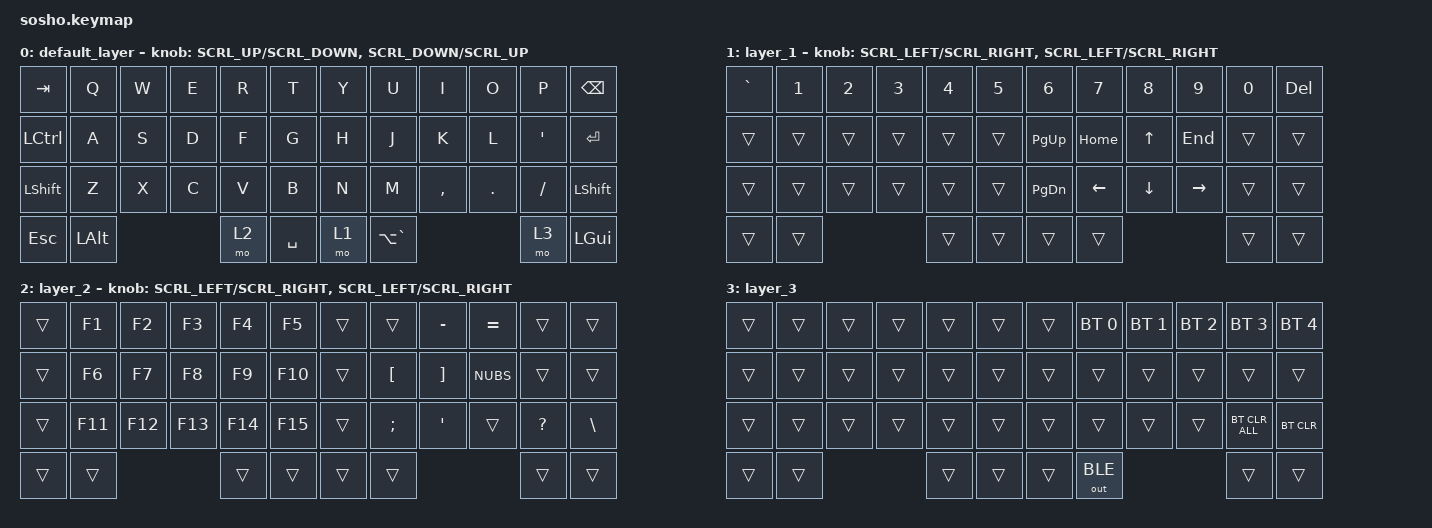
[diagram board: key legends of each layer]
//スクロール量の調整(デフォルト150)
#define ZMK_POINTING_DEFAULT_SCRL_VAL 150

#include <behaviors.dtsi>
#include <dt-bindings/zmk/bt.h>
#include <dt-bindings/zmk/keys.h>
#include <dt-bindings/zmk/pointing.h>
#include <dt-bindings/zmk/outputs.h>

/ {
	behaviors {
        ec_ms_l: ec_ms_h {
            compatible = "zmk,behavior-encoder-mouse-scroll";
            #sensor-binding-cells = <2>;
        };
        ec_ms_r: ec_ms_v {
            compatible = "zmk,behavior-encoder-mouse-scroll";
            #sensor-binding-cells = <2>;
        };
    };
};

//スクロールの調整
&msc {
    time-to-max-speed-ms = <0>;   // 即座に最大速度（加速なし）
    acceleration-exponent = <0>;   // 加速なし
};

/{
    combos {
        compatible = "zmk,combos";
		//左クリックのコンボ 19はJのキー 20はKのキーに相当します。
	    combo_LCLK {
            timeout-ms = <50>;
            key-positions = <19 20>;
            bindings = <&mkp LCLK>;
        };

		//右クリックのコンボ 20 K 21 L
        combo_RCLK {
            timeout-ms = <50>;
            key-positions = <20 21>;
            bindings = <&mkp RCLK>;
        };

		//ホイールクリックのコンボ 19 J 21 L
	    combo_MCLK {
            timeout-ms = <90>;
            key-positions = <19 21>;
            bindings = <&mkp MCLK>;
        };

		//K(20)+M(31) → Ctrl+Shift+Tab（タブ前移動）
        combo_prev_tab {
            timeout-ms = <50>;
            key-positions = <20 31>;
            bindings = <&kp LC(LS(TAB))>;
        };

		//K(20)+.(33) → Ctrl+Tab（タブ次移動）
        combo_next_tab {
            timeout-ms = <50>;
            key-positions = <20 33>;
            bindings = <&kp LC(TAB)>;
        };

		//M(31)+,(32) → Mouse Button 4（戻る）
        combo_mb4 {
            timeout-ms = <50>;
            key-positions = <31 32>;
            bindings = <&mkp MB4>;
        };

		//.(33)+,(32) → Mouse Button 5（進む）
        combo_mb5 {
            timeout-ms = <50>;
            key-positions = <33 32>;
            bindings = <&mkp MB5>;
        };

		//K(20)+,(32)+M(31) → Ctrl+W（タブを閉じる）3キーコンボ
        combo_close_tab {
            timeout-ms = <60>;
            key-positions = <20 32 31>;
            bindings = <&kp LC(W)>;
        };

    };
};

/{
keymap {
    compatible = "zmk,keymap";

    default_layer {
        bindings = <
            &kp TAB    &kp Q   &kp W  &kp E  &kp R  &kp T      &kp Y  &kp U  &kp I      &kp O    &kp P     &kp BSPC
            &kp LCTRL  &kp A   &kp S  &kp D  &kp F  &kp G      &kp H  &kp J  &kp K      &kp L    &kp SQT   &kp ENTER
            &kp LSHFT  &kp Z   &kp X  &kp C  &kp V  &kp B      &kp N  &kp M  &kp COMMA  &kp DOT  &kp SLASH &kp LSHFT
            &kp ESC    &kp LALT              &mo 2  &kp SPACE  &mo 1  &kp LA(GRAVE)              &mo 3     &kp LGUI
        >;
		//&ec_ms_lとrは、上のビヘイビアで作ったもの。
        sensor-bindings = <&ec_ms_l SCRL_UP SCRL_DOWN &ec_ms_r SCRL_DOWN SCRL_UP>;
    };
	
    layer_1 {
        bindings = <
            &kp GRAVE &kp N1  &kp N2  &kp N3  &kp N4  &kp N5       &kp N6    &kp N7   &kp N8   &kp N9    &kp N0 &kp DEL
            &trans    &trans &trans &trans &trans &trans           &kp PG_UP &kp HOME &kp UP   &kp END   &trans &trans
            &trans    &trans &trans &trans &trans &trans           &kp PG_DN &kp LEFT &kp DOWN &kp RIGHT &trans &trans
            &trans    &trans               &trans &trans           &trans    &trans                      &trans &trans
        >;
		//Layer1のときは左右エンコーダとも横スクロール
		sensor-bindings = <&ec_ms_l SCRL_LEFT SCRL_RIGHT &ec_ms_r SCRL_LEFT SCRL_RIGHT>;
    };

    layer_2 {
        bindings = <
            &trans &kp F1  &kp F2  &kp F3  &kp F4  &kp F5     &trans  &trans    &kp MINUS &kp EQUAL &trans     &trans
            &trans &kp F6  &kp F7  &kp F8  &kp F9  &kp F10    &trans  &kp LBKT  &kp RBKT  &kp NUBS  &trans     &trans
            &trans &kp F11 &kp F12 &kp F13 &kp F14 &kp F15    &trans  &kp SEMI  &kp SQT   &trans    &kp QMARK  &kp BSLH
            &trans &trans                  &trans  &trans     &trans  &trans                        &trans     &trans
        >;
		//Layer2のときは左右エンコーダとも横スクロール
		sensor-bindings = <&ec_ms_l SCRL_LEFT SCRL_RIGHT &ec_ms_r SCRL_LEFT SCRL_RIGHT>;

    };

    layer_3 {
        bindings = <
            &trans &trans &trans &trans &trans &trans      &trans  &bt BT_SEL 0  &bt BT_SEL 1  &bt BT_SEL 2  &bt BT_SEL 3   &bt BT_SEL 4
            &trans &trans &trans &trans &trans &trans      &trans  &trans        &trans        &trans        &trans         &trans
            &trans &trans &trans &trans &trans &trans      &trans  &trans        &trans        &trans        &bt BT_CLR_ALL &bt BT_CLR
            &trans &trans               &trans &trans      &trans  &out OUT_BLE                                    &trans         &trans
        >;
    };
    scroll {
        status = "reserved";
    };

    extra2 {
        status = "reserved";
    };
};
};
